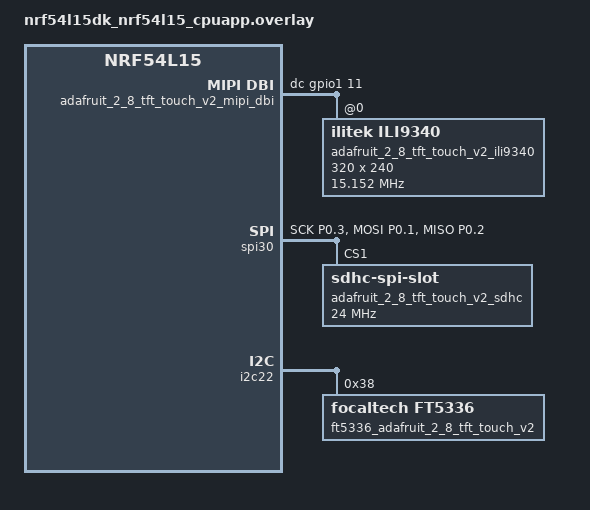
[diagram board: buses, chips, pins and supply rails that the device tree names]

#include <zephyr/dt-bindings/display/ili9xxx.h>

/ {
	chosen {
		zephyr,display = &adafruit_2_8_tft_touch_v2_ili9340;
	};

	lvgl_pointer {
		compatible = "zephyr,lvgl-pointer-input";
		input = <&ft5336_adafruit_2_8_tft_touch_v2>;
		swap-xy;
		invert-x;
		invert-y;
	};

	adafruit_2_8_tft_touch_v2_mipi_dbi: adafruit_2_8_tft_touch_v2_mipi_dbi {
		compatible = "zephyr,mipi-dbi-spi";
		spi-dev = <&spi30>;
		dc-gpios = <&gpio1 11 GPIO_ACTIVE_HIGH>;
		write-only;
		#address-cells = <1>;
		#size-cells = <0>;

		adafruit_2_8_tft_touch_v2_ili9340: ili9340@0 {
			compatible = "ilitek,ili9340";
			mipi-max-frequency = <15151515>;
			reg = <0>;
			width = <320>;
			height = <240>;
			pixel-format = <ILI9XXX_PIXEL_FORMAT_RGB888>;
			rotation = <90>;
			frmctr1 = [ 00 18  ];
			pwctrl1 = [ 23 00  ];
			vmctrl1 = [ 3e 28  ];
			vmctrl2 = [ 86  ];
			pgamctrl = [ 0f 31 2b 0c 0e 08 4e f1 37 07 10 03 0e 09 00  ];
			ngamctrl = [ 00 0e 14 03 11 07 31 c1 48 08 0f 0c 31 36 0f  ];
		};
	};
};

&pinctrl {
	spi30_default: spi30_default {
		group1 {
			psels = <NRF_PSEL(SPIM_SCK, 0, 3)>,
			        <NRF_PSEL(SPIM_MOSI, 0, 1)>,
			        <NRF_PSEL(SPIM_MISO, 0, 2)>;
		};
	};

	spi30_sleep: spi30_sleep {
		group1 {
			psels = <NRF_PSEL(SPIM_SCK, 0, 3)>,
			        <NRF_PSEL(SPIM_MOSI, 0, 1)>,
			        <NRF_PSEL(SPIM_MISO, 0, 2)>;
			low-power-enable;
		};
	};
};

&spi30 {
	status = "okay";
	cs-gpios = <&gpio0 0 GPIO_ACTIVE_LOW>;
	pinctrl-0 = <&spi30_default>;
	pinctrl-1 = <&spi30_sleep>;
	pinctrl-names = "default", "sleep";

	adafruit_2_8_tft_touch_v2_sdhc: sdhc@1 {
		compatible = "zephyr,sdhc-spi-slot";
		reg = <1>;
		status = "okay";
		spi-max-frequency = <24000000>;
		mmc {
			compatible = "zephyr,sdmmc-disk";
			status = "disabled";
		};
	};
};

&i2c22 {
	ft5336_adafruit_2_8_tft_touch_v2: ft5336@38 {
		compatible = "focaltech,ft5336";
		reg = <0x38>;
		/* Uncomment if IRQ line is available (requires to solder jumper) */
		/* int-gpios = <&&gpio2 8 GPIO_ACTIVE_LOW>; */ /* D7 */
	};
};
